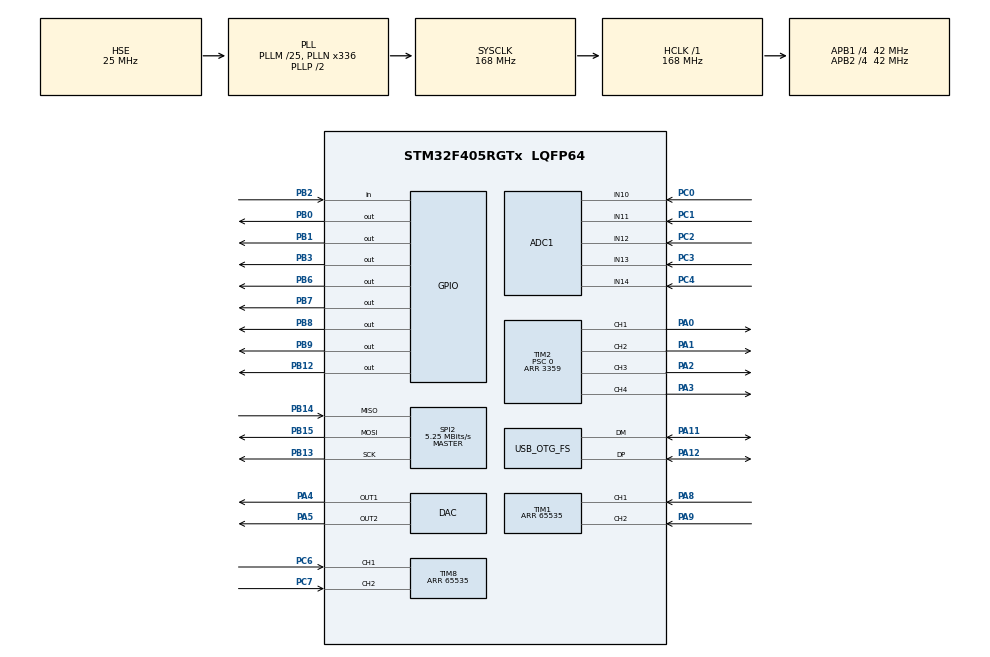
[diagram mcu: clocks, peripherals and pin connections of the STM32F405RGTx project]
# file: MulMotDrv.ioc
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ADC1.Channel-0\#ChannelRegularConversion=ADC_CHANNEL_10
ADC1.Channel-1\#ChannelRegularConversion=ADC_CHANNEL_11
ADC1.Channel-2\#ChannelRegularConversion=ADC_CHANNEL_12
ADC1.Channel-3\#ChannelRegularConversion=ADC_CHANNEL_13
ADC1.Channel-4\#ChannelRegularConversion=ADC_CHANNEL_14
ADC1.ContinuousConvMode=DISABLE
ADC1.DMAContinuousRequests=ENABLE
ADC1.EOCSelection=ADC_EOC_SEQ_CONV
ADC1.ExternalTrigConv=ADC_EXTERNALTRIGCONV_T3_TRGO
ADC1.NbrOfConversion=5
ADC1.NbrOfConversionFlag=1
ADC1.Rank-0\#ChannelRegularConversion=1
ADC1.Rank-1\#ChannelRegularConversion=2
ADC1.Rank-2\#ChannelRegularConversion=3
ADC1.Rank-3\#ChannelRegularConversion=4
ADC1.Rank-4\#ChannelRegularConversion=5
ADC1.SamplingTime-0\#ChannelRegularConversion=ADC_SAMPLETIME_28CYCLES
ADC1.SamplingTime-1\#ChannelRegularConversion=ADC_SAMPLETIME_28CYCLES
ADC1.SamplingTime-2\#ChannelRegularConversion=ADC_SAMPLETIME_28CYCLES
ADC1.SamplingTime-3\#ChannelRegularConversion=ADC_SAMPLETIME_28CYCLES
ADC1.SamplingTime-4\#ChannelRegularConversion=ADC_SAMPLETIME_28CYCLES
ADC1.master=1
Dma.ADC1.0.Direction=DMA_PERIPH_TO_MEMORY
Dma.ADC1.0.FIFOMode=DMA_FIFOMODE_DISABLE
Dma.ADC1.0.Instance=DMA2_Stream0
Dma.ADC1.0.MemDataAlignment=DMA_MDATAALIGN_HALFWORD
Dma.ADC1.0.MemInc=DMA_MINC_ENABLE
Dma.ADC1.0.Mode=DMA_CIRCULAR
Dma.ADC1.0.PeriphDataAlignment=DMA_PDATAALIGN_HALFWORD
Dma.ADC1.0.PeriphInc=DMA_PINC_DISABLE
Dma.ADC1.0.Priority=DMA_PRIORITY_LOW
Dma.Request0=ADC1
Mcu.Family=STM32F4
Mcu.Name=STM32F405RGTx
Mcu.Package=LQFP64
NVIC.ADC_IRQn=true\:0\:0\:false\:false\:true\:true\:true\:true
NVIC.DMA2_Stream0_IRQn=true\:0\:0\:false\:false\:true\:false\:true\:true
NVIC.OTG_FS_IRQn=true\:0\:0\:false\:false\:true\:false\:true\:true
NVIC.PriorityGroup=NVIC_PRIORITYGROUP_4
NVIC.TIM3_IRQn=true\:0\:0\:false\:false\:true\:true\:true\:true
PA0-WKUP.Signal=S_TIM2_CH1_ETR
PA1.Signal=S_TIM2_CH2
PA11.Mode=Device_Only
PA11.Signal=USB_OTG_FS_DM
PA12.Mode=Device_Only
PA12.Signal=USB_OTG_FS_DP
PA2.Signal=S_TIM2_CH3
PA3.Signal=S_TIM2_CH4
PA4.Signal=COMP_DAC1_group
PA5.Signal=COMP_DAC2_group
PA8.Signal=S_TIM1_CH1
PA9.Signal=S_TIM1_CH2
PB0.Signal=GPIO_Output
PB1.Signal=GPIO_Output
PB12.GPIO_Speed=GPIO_SPEED_FREQ_VERY_HIGH
PB12.PinState=GPIO_PIN_SET
PB12.Signal=GPIO_Output
PB13.Mode=Full_Duplex_Master
PB13.Signal=SPI2_SCK
PB14.Mode=Full_Duplex_Master
PB14.Signal=SPI2_MISO
PB15.Mode=Full_Duplex_Master
PB15.Signal=SPI2_MOSI
PB2.Signal=GPIO_Input
PB3.PinState=GPIO_PIN_SET
PB3.Signal=GPIO_Output
PB6.Signal=GPIO_Output
PB7.Signal=GPIO_Output
PB8.Signal=GPIO_Output
PB9.Signal=GPIO_Output
PC0.Signal=ADCx_IN10
PC1.Signal=ADCx_IN11
PC2.Signal=ADCx_IN12
PC3.Signal=ADCx_IN13
PC4.Signal=ADCx_IN14
PC6.Signal=S_TIM8_CH1
PC7.Signal=S_TIM8_CH2
PH0-OSC_IN.Mode=HSE-External-Oscillator
PH0-OSC_IN.Signal=RCC_OSC_IN
PH1-OSC_OUT.Mode=HSE-External-Oscillator
PH1-OSC_OUT.Signal=RCC_OSC_OUT
ProjectManager.HeapSize=0x200
ProjectManager.StackSize=0x400
ProjectManager.TargetToolchain=STM32CubeIDE
RCC.48MHZClocksFreq_Value=48000000
RCC.AHBFreq_Value=168000000
RCC.APB1CLKDivider=RCC_HCLK_DIV4
RCC.APB1Freq_Value=42000000
RCC.APB1TimFreq_Value=84000000
RCC.APB2CLKDivider=RCC_HCLK_DIV4
RCC.APB2Freq_Value=42000000
RCC.APB2TimFreq_Value=84000000
RCC.CortexFreq_Value=168000000
RCC.HCLKFreq_Value=168000000
RCC.HSE_VALUE=25000000
RCC.HSI_VALUE=16000000
RCC.LSE_VALUE=32768
RCC.PLLM=25
RCC.PLLN=336
RCC.PLLQ=7
RCC.SYSCLKFreq_VALUE=168000000
RCC.SYSCLKSource=RCC_SYSCLKSOURCE_PLLCLK
RCC.VCOOutputFreq_Value=336000000
SH.ADCx_IN10.0=ADC1_IN10,IN10
SH.ADCx_IN11.0=ADC1_IN11,IN11
SH.ADCx_IN12.0=ADC1_IN12,IN12
SH.ADCx_IN13.0=ADC1_IN13,IN13
SH.ADCx_IN14.0=ADC1_IN14,IN14
SH.COMP_DAC1_group.0=DAC_OUT1,DAC_OUT1
SH.COMP_DAC2_group.0=DAC_OUT2,DAC_OUT2
SH.S_TIM1_CH1.0=TIM1_CH1,Encoder_Interface
SH.S_TIM1_CH2.0=TIM1_CH2,Encoder_Interface
SH.S_TIM2_CH1_ETR.0=TIM2_CH1,PWM Generation1 CH1
SH.S_TIM2_CH2.0=TIM2_CH2,PWM Generation2 CH2
SH.S_TIM2_CH3.0=TIM2_CH3,PWM Generation3 CH3
SH.S_TIM2_CH4.0=TIM2_CH4,PWM Generation4 CH4
SH.S_TIM8_CH1.0=TIM8_CH1,Encoder_Interface
SH.S_TIM8_CH2.0=TIM8_CH2,Encoder_Interface
SPI2.BaudRatePrescaler=SPI_BAUDRATEPRESCALER_8
SPI2.CLKPhase=SPI_PHASE_2EDGE
SPI2.CalculateBaudRate=5.25 MBits/s
SPI2.Direction=SPI_DIRECTION_2LINES
SPI2.Mode=SPI_MODE_MASTER
SPI2.VirtualType=VM_MASTER
TIM1.EncoderMode=TIM_ENCODERMODE_TI12
TIM1.IC1Filter=15
TIM1.IC2Filter=15
TIM1.Period=65535
TIM10.Prescaler=83
TIM13.Prescaler=83
TIM2.Channel-PWM\ Generation1\ CH1=TIM_CHANNEL_1
TIM2.Channel-PWM\ Generation2\ CH2=TIM_CHANNEL_2
TIM2.Channel-PWM\ Generation3\ CH3=TIM_CHANNEL_3
TIM2.Channel-PWM\ Generation4\ CH4=TIM_CHANNEL_4
TIM2.CounterMode=TIM_COUNTERMODE_CENTERALIGNED1
TIM2.Period=3359
TIM2.Prescaler=0
TIM3.Period=49
TIM3.Prescaler=83
TIM3.TIM_MasterOutputTrigger=TIM_TRGO_UPDATE
TIM5.Prescaler=83
TIM8.CounterMode=TIM_COUNTERMODE_UP
TIM8.EncoderMode=TIM_ENCODERMODE_TI12
TIM8.IC1Filter=15
TIM8.IC1Polarity=TIM_ICPOLARITY_FALLING
TIM8.IC2Filter=15
TIM8.IC2Polarity=TIM_ICPOLARITY_RISING
TIM8.Period=65535
USB_DEVICE.CLASS_NAME_FS=CDC
USB_DEVICE.VirtualMode-CDC_FS=Cdc
USB_DEVICE.VirtualModeFS=Cdc_FS
USB_OTG_FS.VirtualMode=Device_Only
VP_TIM10_VS_ClockSourceINT.Mode=Enable_Timer
VP_TIM13_VS_ClockSourceINT.Mode=Enable_Timer
VP_TIM2_VS_ClockSourceINT.Mode=Internal
VP_TIM3_VS_ClockSourceINT.Mode=Internal
VP_TIM5_VS_ClockSourceINT.Mode=Internal
VP_USB_DEVICE_VS_USB_DEVICE_CDC_FS.Mode=CDC_FS
board=custom

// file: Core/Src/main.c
/* USER CODE BEGIN Header */
/**
  ******************************************************************************
  * @file           : main.c
  * @brief          : Main program body
  ******************************************************************************
  * @attention
  *
  * Copyright (c) 2025 STMicroelectronics.
  * All rights reserved.
  *
  * This software is licensed under terms that can be found in the LICENSE file
  * in the root directory of this software component.
  * If no LICENSE file comes with this software, it is provided AS-IS.
  *
  ******************************************************************************
  */
/* USER CODE END Header */
#include "main.h"
#include "usb_device.h"

/* USER CODE BEGIN Includes */
#include "adc_dma.h"
#include "ProcessCmd.h"
#include "usbd_cdc_if.h"
#include "DC_Motor.h"
#include "BLDC.h"
#include "StepMotor.h"
#include "Encoder.h"
#include "Parameter.h"
/* USER CODE END Includes */

ADC_HandleTypeDef hadc1;
DMA_HandleTypeDef hdma_adc1;

DAC_HandleTypeDef hdac;

SPI_HandleTypeDef hspi2;

TIM_HandleTypeDef htim1;
TIM_HandleTypeDef htim2;
TIM_HandleTypeDef htim3;
TIM_HandleTypeDef htim5;
TIM_HandleTypeDef htim8;
TIM_HandleTypeDef htim10;
TIM_HandleTypeDef htim13;

void SystemClock_Config(void);
static void MX_GPIO_Init(void);
static void MX_DMA_Init(void);
static void MX_ADC1_Init(void);
static void MX_DAC_Init(void);
static void MX_TIM1_Init(void);
static void MX_TIM2_Init(void);
static void MX_TIM8_Init(void);
static void MX_SPI2_Init(void);
static void MX_TIM5_Init(void);
static void MX_TIM3_Init(void);
static void MX_TIM10_Init(void);
static void MX_TIM13_Init(void);

/* USER CODE BEGIN 0 */
float anglex=0;
float encr=0;
/* USER CODE END 0 */

int main(void)
{

  /* USER CODE BEGIN 1 */
    uint32_t mnt=0;
  /* USER CODE END 1 */

  /* MCU Configuration--------------------------------------------------------*/

  /* Reset of all peripherals, Initializes the Flash interface and the Systick. */
  HAL_Init();

  /* Configure the system clock */
  SystemClock_Config();

  /* Initialize all configured peripherals */
  MX_GPIO_Init();
  MX_DMA_Init();
  MX_ADC1_Init();
  MX_DAC_Init();
  MX_TIM1_Init();
  MX_TIM2_Init();
  MX_TIM8_Init();
  MX_SPI2_Init();
  MX_TIM5_Init();
  MX_USB_DEVICE_Init();
  MX_TIM3_Init();
  MX_TIM10_Init();
  MX_TIM13_Init();
  /* USER CODE BEGIN 2 */
  HAL_TIM_Base_Start(&htim13); // USB command check timer
  DRV8962_Sleep_ON();   // DRV8962 enter sleep mode
  DRV8962_Disable_ALL(); // Disable DRV8962

  /* USER CODE END 2 */

  /* Infinite loop */
  while (1)
  {

    /* USER CODE BEGIN 3 */
	  DC_Motor_Con();
	  BLDC_Motor_Con();
	  Stepper_Con();

      mnt=__HAL_TIM_GET_COUNTER(&htim13);
	  if(mnt>=20000) {// 20ms loop for USB command check
		  __HAL_TIM_SET_COUNTER(&htim13,0);
		  ChechCMD();
	 }
  }
  /* USER CODE END 3 */
}

void SystemClock_Config(void)
{
  RCC_OscInitTypeDef RCC_OscInitStruct = {0};
  RCC_ClkInitTypeDef RCC_ClkInitStruct = {0};

  /** Configure the main internal regulator output voltage
  */
  __HAL_RCC_PWR_CLK_ENABLE();
  __HAL_PWR_VOLTAGESCALING_CONFIG(PWR_REGULATOR_VOLTAGE_SCALE1);

  /** Initializes the RCC Oscillators according to the specified parameters
  * in the RCC_OscInitTypeDef structure.
  */
  RCC_OscInitStruct.OscillatorType = RCC_OSCILLATORTYPE_HSE;
  RCC_OscInitStruct.HSEState = RCC_HSE_ON;
  RCC_OscInitStruct.PLL.PLLState = RCC_PLL_ON;
  RCC_OscInitStruct.PLL.PLLSource = RCC_PLLSOURCE_HSE;
  RCC_OscInitStruct.PLL.PLLM = 25;
  RCC_OscInitStruct.PLL.PLLN = 336;
  RCC_OscInitStruct.PLL.PLLP = RCC_PLLP_DIV2;
  RCC_OscInitStruct.PLL.PLLQ = 7;
  if (HAL_RCC_OscConfig(&RCC_OscInitStruct) != HAL_OK)
  {
    Error_Handler();
  }

  /** Initializes the CPU, AHB and APB buses clocks
  */
  RCC_ClkInitStruct.ClockType = RCC_CLOCKTYPE_HCLK|RCC_CLOCKTYPE_SYSCLK
                              |RCC_CLOCKTYPE_PCLK1|RCC_CLOCKTYPE_PCLK2;
  RCC_ClkInitStruct.SYSCLKSource = RCC_SYSCLKSOURCE_PLLCLK;
  RCC_ClkInitStruct.AHBCLKDivider = RCC_SYSCLK_DIV1;
  RCC_ClkInitStruct.APB1CLKDivider = RCC_HCLK_DIV4;
  RCC_ClkInitStruct.APB2CLKDivider = RCC_HCLK_DIV4;

  if (HAL_RCC_ClockConfig(&RCC_ClkInitStruct, FLASH_LATENCY_5) != HAL_OK)
  {
    Error_Handler();
  }
}

static void MX_ADC1_Init(void)
{

  ADC_ChannelConfTypeDef sConfig = {0};

  /** Configure the global features of the ADC (Clock, Resolution, Data Alignment and number of conversion)
  */
  hadc1.Instance = ADC1;
  hadc1.Init.ClockPrescaler = ADC_CLOCK_SYNC_PCLK_DIV2;
  hadc1.Init.Resolution = ADC_RESOLUTION_12B;
  hadc1.Init.ScanConvMode = ENABLE;
  hadc1.Init.ContinuousConvMode = DISABLE;
  hadc1.Init.DiscontinuousConvMode = DISABLE;
  hadc1.Init.ExternalTrigConvEdge = ADC_EXTERNALTRIGCONVEDGE_RISING;
  hadc1.Init.ExternalTrigConv = ADC_EXTERNALTRIGCONV_T3_TRGO;
  hadc1.Init.DataAlign = ADC_DATAALIGN_RIGHT;
  hadc1.Init.NbrOfConversion = 5;
  hadc1.Init.DMAContinuousRequests = ENABLE;
  hadc1.Init.EOCSelection = ADC_EOC_SEQ_CONV;
  if (HAL_ADC_Init(&hadc1) != HAL_OK)
  {
    Error_Handler();
  }

  /** Configure for the selected ADC regular channel its corresponding rank in the sequencer and its sample time.
  */
  sConfig.Channel = ADC_CHANNEL_10;
  sConfig.Rank = 1;
  sConfig.SamplingTime = ADC_SAMPLETIME_28CYCLES;
  if (HAL_ADC_ConfigChannel(&hadc1, &sConfig) != HAL_OK)
  {
    Error_Handler();
  }

  /** Configure for the selected ADC regular channel its corresponding rank in the sequencer and its sample time.
  */
  sConfig.Channel = ADC_CHANNEL_11;
  sConfig.Rank = 2;
  if (HAL_ADC_ConfigChannel(&hadc1, &sConfig) != HAL_OK)
  {
    Error_Handler();
  }

  /** Configure for the selected ADC regular channel its corresponding rank in the sequencer and its sample time.
  */
  sConfig.Channel = ADC_CHANNEL_12;
  sConfig.Rank = 3;
  if (HAL_ADC_ConfigChannel(&hadc1, &sConfig) != HAL_OK)
  {
    Error_Handler();
  }

  /** Configure for the selected ADC regular channel its corresponding rank in the sequencer and its sample time.
  */
  sConfig.Channel = ADC_CHANNEL_13;
  sConfig.Rank = 4;
  if (HAL_ADC_ConfigChannel(&hadc1, &sConfig) != HAL_OK)
  {
    Error_Handler();
  }

  /** Configure for the selected ADC regular channel its corresponding rank in the sequencer and its sample time.
  */
  sConfig.Channel = ADC_CHANNEL_14;
  sConfig.Rank = 5;
  if (HAL_ADC_ConfigChannel(&hadc1, &sConfig) != HAL_OK)
  {
    Error_Handler();
  }

}

static void MX_DAC_Init(void)
{

  DAC_ChannelConfTypeDef sConfig = {0};

  /** DAC Initialization
  */
  hdac.Instance = DAC;
  if (HAL_DAC_Init(&hdac) != HAL_OK)
  {
    Error_Handler();
  }

  /** DAC channel OUT1 config
  */
  sConfig.DAC_Trigger = DAC_TRIGGER_NONE;
  sConfig.DAC_OutputBuffer = DAC_OUTPUTBUFFER_ENABLE;
  if (HAL_DAC_ConfigChannel(&hdac, &sConfig, DAC_CHANNEL_1) != HAL_OK)
  {
    Error_Handler();
  }

  /** DAC channel OUT2 config
  */
  if (HAL_DAC_ConfigChannel(&hdac, &sConfig, DAC_CHANNEL_2) != HAL_OK)
  {
    Error_Handler();
  }

}

static void MX_SPI2_Init(void)
{

  /* SPI2 parameter configuration*/
  hspi2.Instance = SPI2;
  hspi2.Init.Mode = SPI_MODE_MASTER;
  hspi2.Init.Direction = SPI_DIRECTION_2LINES;
  hspi2.Init.DataSize = SPI_DATASIZE_8BIT;
  hspi2.Init.CLKPolarity = SPI_POLARITY_LOW;
  hspi2.Init.CLKPhase = SPI_PHASE_2EDGE;
  hspi2.Init.NSS = SPI_NSS_SOFT;
  hspi2.Init.BaudRatePrescaler = SPI_BAUDRATEPRESCALER_8;
  hspi2.Init.FirstBit = SPI_FIRSTBIT_MSB;
  hspi2.Init.TIMode = SPI_TIMODE_DISABLE;
  hspi2.Init.CRCCalculation = SPI_CRCCALCULATION_DISABLE;
  hspi2.Init.CRCPolynomial = 10;
  if (HAL_SPI_Init(&hspi2) != HAL_OK)
  {
    Error_Handler();
  }

}

static void MX_TIM1_Init(void)
{

  TIM_Encoder_InitTypeDef sConfig = {0};
  TIM_MasterConfigTypeDef sMasterConfig = {0};

  htim1.Instance = TIM1;
  htim1.Init.Prescaler = 0;
  htim1.Init.CounterMode = TIM_COUNTERMODE_UP;
  htim1.Init.Period = 65535;
  htim1.Init.ClockDivision = TIM_CLOCKDIVISION_DIV1;
  htim1.Init.RepetitionCounter = 0;
  htim1.Init.AutoReloadPreload = TIM_AUTORELOAD_PRELOAD_DISABLE;
  sConfig.EncoderMode = TIM_ENCODERMODE_TI12;
  sConfig.IC1Polarity = TIM_ICPOLARITY_RISING;
  sConfig.IC1Selection = TIM_ICSELECTION_DIRECTTI;
  sConfig.IC1Prescaler = TIM_ICPSC_DIV1;
  sConfig.IC1Filter = 15;
  sConfig.IC2Polarity = TIM_ICPOLARITY_RISING;
  sConfig.IC2Selection = TIM_ICSELECTION_DIRECTTI;
  sConfig.IC2Prescaler = TIM_ICPSC_DIV1;
  sConfig.IC2Filter = 15;
  if (HAL_TIM_Encoder_Init(&htim1, &sConfig) != HAL_OK)
  {
    Error_Handler();
  }
  sMasterConfig.MasterOutputTrigger = TIM_TRGO_RESET;
  sMasterConfig.MasterSlaveMode = TIM_MASTERSLAVEMODE_DISABLE;
  if (HAL_TIMEx_MasterConfigSynchronization(&htim1, &sMasterConfig) != HAL_OK)
  {
    Error_Handler();
  }

}

static void MX_TIM2_Init(void)
{

  TIM_ClockConfigTypeDef sClockSourceConfig = {0};
  TIM_MasterConfigTypeDef sMasterConfig = {0};
  TIM_OC_InitTypeDef sConfigOC = {0};

  htim2.Instance = TIM2;
  htim2.Init.Prescaler = 0;
  htim2.Init.CounterMode = TIM_COUNTERMODE_CENTERALIGNED1;
  htim2.Init.Period = 3359;
  htim2.Init.ClockDivision = TIM_CLOCKDIVISION_DIV1;
  htim2.Init.AutoReloadPreload = TIM_AUTORELOAD_PRELOAD_DISABLE;
  if (HAL_TIM_Base_Init(&htim2) != HAL_OK)
  {
    Error_Handler();
  }
  sClockSourceConfig.ClockSource = TIM_CLOCKSOURCE_INTERNAL;
  if (HAL_TIM_ConfigClockSource(&htim2, &sClockSourceConfig) != HAL_OK)
  {
    Error_Handler();
  }
  if (HAL_TIM_PWM_Init(&htim2) != HAL_OK)
  {
    Error_Handler();
  }
  sMasterConfig.MasterOutputTrigger = TIM_TRGO_RESET;
  sMasterConfig.MasterSlaveMode = TIM_MASTERSLAVEMODE_DISABLE;
  if (HAL_TIMEx_MasterConfigSynchronization(&htim2, &sMasterConfig) != HAL_OK)
  {
    Error_Handler();
  }
  sConfigOC.OCMode = TIM_OCMODE_PWM1;
  sConfigOC.Pulse = 0;
  sConfigOC.OCPolarity = TIM_OCPOLARITY_HIGH;
  sConfigOC.OCFastMode = TIM_OCFAST_DISABLE;
  if (HAL_TIM_PWM_ConfigChannel(&htim2, &sConfigOC, TIM_CHANNEL_1) != HAL_OK)
  {
    Error_Handler();
  }
  if (HAL_TIM_PWM_ConfigChannel(&htim2, &sConfigOC, TIM_CHANNEL_2) != HAL_OK)
  {
    Error_Handler();
  }
  if (HAL_TIM_PWM_ConfigChannel(&htim2, &sConfigOC, TIM_CHANNEL_3) != HAL_OK)
  {
    Error_Handler();
  }
  if (HAL_TIM_PWM_ConfigChannel(&htim2, &sConfigOC, TIM_CHANNEL_4) != HAL_OK)
  {
    Error_Handler();
  }
  HAL_TIM_MspPostInit(&htim2);

}

static void MX_TIM3_Init(void)
{

  TIM_ClockConfigTypeDef sClockSourceConfig = {0};
  TIM_MasterConfigTypeDef sMasterConfig = {0};

  htim3.Instance = TIM3;
  htim3.Init.Prescaler = 83;
  htim3.Init.CounterMode = TIM_COUNTERMODE_UP;
  htim3.Init.Period = 49;
  htim3.Init.ClockDivision = TIM_CLOCKDIVISION_DIV1;
  htim3.Init.AutoReloadPreload = TIM_AUTORELOAD_PRELOAD_DISABLE;
  if (HAL_TIM_Base_Init(&htim3) != HAL_OK)
  {
    Error_Handler();
  }
  sClockSourceConfig.ClockSource = TIM_CLOCKSOURCE_INTERNAL;
  if (HAL_TIM_ConfigClockSource(&htim3, &sClockSourceConfig) != HAL_OK)
  {
    Error_Handler();
  }
  sMasterConfig.MasterOutputTrigger = TIM_TRGO_UPDATE;
  sMasterConfig.MasterSlaveMode = TIM_MASTERSLAVEMODE_DISABLE;
  if (HAL_TIMEx_MasterConfigSynchronization(&htim3, &sMasterConfig) != HAL_OK)
  {
    Error_Handler();
  }

}

static void MX_TIM5_Init(void)
{

  TIM_ClockConfigTypeDef sClockSourceConfig = {0};
  TIM_MasterConfigTypeDef sMasterConfig = {0};

  htim5.Instance = TIM5;
  htim5.Init.Prescaler = 83;
  htim5.Init.CounterMode = TIM_COUNTERMODE_UP;
  htim5.Init.Period = 4294967295;
  htim5.Init.ClockDivision = TIM_CLOCKDIVISION_DIV1;
  htim5.Init.AutoReloadPreload = TIM_AUTORELOAD_PRELOAD_DISABLE;
  if (HAL_TIM_Base_Init(&htim5) != HAL_OK)
  {
    Error_Handler();
  }
  sClockSourceConfig.ClockSource = TIM_CLOCKSOURCE_INTERNAL;
  if (HAL_TIM_ConfigClockSource(&htim5, &sClockSourceConfig) != HAL_OK)
  {
    Error_Handler();
  }
  sMasterConfig.MasterOutputTrigger = TIM_TRGO_RESET;
  sMasterConfig.MasterSlaveMode = TIM_MASTERSLAVEMODE_DISABLE;
  if (HAL_TIMEx_MasterConfigSynchronization(&htim5, &sMasterConfig) != HAL_OK)
  {
    Error_Handler();
  }

}

static void MX_TIM8_Init(void)
{

  TIM_Encoder_InitTypeDef sConfig = {0};
  TIM_MasterConfigTypeDef sMasterConfig = {0};

  htim8.Instance = TIM8;
  htim8.Init.Prescaler = 0;
  htim8.Init.CounterMode = TIM_COUNTERMODE_UP;
  htim8.Init.Period = 65535;
  htim8.Init.ClockDivision = TIM_CLOCKDIVISION_DIV1;
  htim8.Init.RepetitionCounter = 0;
  htim8.Init.AutoReloadPreload = TIM_AUTORELOAD_PRELOAD_DISABLE;
  sConfig.EncoderMode = TIM_ENCODERMODE_TI12;
  sConfig.IC1Polarity = TIM_ICPOLARITY_FALLING;
  sConfig.IC1Selection = TIM_ICSELECTION_DIRECTTI;
  sConfig.IC1Prescaler = TIM_ICPSC_DIV1;
  sConfig.IC1Filter = 15;
  sConfig.IC2Polarity = TIM_ICPOLARITY_RISING;
  sConfig.IC2Selection = TIM_ICSELECTION_DIRECTTI;
  sConfig.IC2Prescaler = TIM_ICPSC_DIV1;
  sConfig.IC2Filter = 15;
  if (HAL_TIM_Encoder_Init(&htim8, &sConfig) != HAL_OK)
  {
    Error_Handler();
  }
  sMasterConfig.MasterOutputTrigger = TIM_TRGO_RESET;
  sMasterConfig.MasterSlaveMode = TIM_MASTERSLAVEMODE_DISABLE;
  if (HAL_TIMEx_MasterConfigSynchronization(&htim8, &sMasterConfig) != HAL_OK)
  {
    Error_Handler();
  }

}

static void MX_TIM10_Init(void)
{

  htim10.Instance = TIM10;
  htim10.Init.Prescaler = 83;
  htim10.Init.CounterMode = TIM_COUNTERMODE_UP;
  htim10.Init.Period = 65535;
  htim10.Init.ClockDivision = TIM_CLOCKDIVISION_DIV1;
  htim10.Init.AutoReloadPreload = TIM_AUTORELOAD_PRELOAD_DISABLE;
  if (HAL_TIM_Base_Init(&htim10) != HAL_OK)
  {
    Error_Handler();
  }

}

static void MX_TIM13_Init(void)
{

  htim13.Instance = TIM13;
  htim13.Init.Prescaler = 83;
  htim13.Init.CounterMode = TIM_COUNTERMODE_UP;
  htim13.Init.Period = 65535;
  htim13.Init.ClockDivision = TIM_CLOCKDIVISION_DIV1;
  htim13.Init.AutoReloadPreload = TIM_AUTORELOAD_PRELOAD_DISABLE;
  if (HAL_TIM_Base_Init(&htim13) != HAL_OK)
  {
    Error_Handler();
  }

}

static void MX_DMA_Init(void)
{

  /* DMA controller clock enable */
  __HAL_RCC_DMA2_CLK_ENABLE();

  /* DMA interrupt init */
  /* DMA2_Stream0_IRQn interrupt configuration */
  HAL_NVIC_SetPriority(DMA2_Stream0_IRQn, 0, 0);
  HAL_NVIC_EnableIRQ(DMA2_Stream0_IRQn);

}

static void MX_GPIO_Init(void)
{
  GPIO_InitTypeDef GPIO_InitStruct = {0};

  /* GPIO Ports Clock Enable */
  __HAL_RCC_GPIOH_CLK_ENABLE();
  __HAL_RCC_GPIOC_CLK_ENABLE();
  __HAL_RCC_GPIOA_CLK_ENABLE();
  __HAL_RCC_GPIOB_CLK_ENABLE();

  /*Configure GPIO pin Output Level */
  HAL_GPIO_WritePin(GPIOB, GPIO_PIN_0|GPIO_PIN_1|GPIO_PIN_6|GPIO_PIN_7
                          |GPIO_PIN_8|GPIO_PIN_9, GPIO_PIN_RESET);

  /*Configure GPIO pin Output Level */
  HAL_GPIO_WritePin(GPIOB, GPIO_PIN_12|GPIO_PIN_3, GPIO_PIN_SET);

  /*Configure GPIO pins : PB0 PB1 PB3 PB6
                           PB7 PB8 PB9 */
  GPIO_InitStruct.Pin = GPIO_PIN_0|GPIO_PIN_1|GPIO_PIN_3|GPIO_PIN_6
                          |GPIO_PIN_7|GPIO_PIN_8|GPIO_PIN_9;
  GPIO_InitStruct.Mode = GPIO_MODE_OUTPUT_PP;
  GPIO_InitStruct.Pull = GPIO_NOPULL;
  GPIO_InitStruct.Speed = GPIO_SPEED_FREQ_LOW;
  HAL_GPIO_Init(GPIOB, &GPIO_InitStruct);

  /*Configure GPIO pin : PB2 */
  GPIO_InitStruct.Pin = GPIO_PIN_2;
  GPIO_InitStruct.Mode = GPIO_MODE_INPUT;
  GPIO_InitStruct.Pull = GPIO_NOPULL;
  HAL_GPIO_Init(GPIOB, &GPIO_InitStruct);

  /*Configure GPIO pin : PB12 */
  GPIO_InitStruct.Pin = GPIO_PIN_12;
  GPIO_InitStruct.Mode = GPIO_MODE_OUTPUT_PP;
  GPIO_InitStruct.Pull = GPIO_NOPULL;
  GPIO_InitStruct.Speed = GPIO_SPEED_FREQ_VERY_HIGH;
  HAL_GPIO_Init(GPIOB, &GPIO_InitStruct);

}

void Error_Handler(void)
{
  __disable_irq();
  while (1)
  {
  }
}
